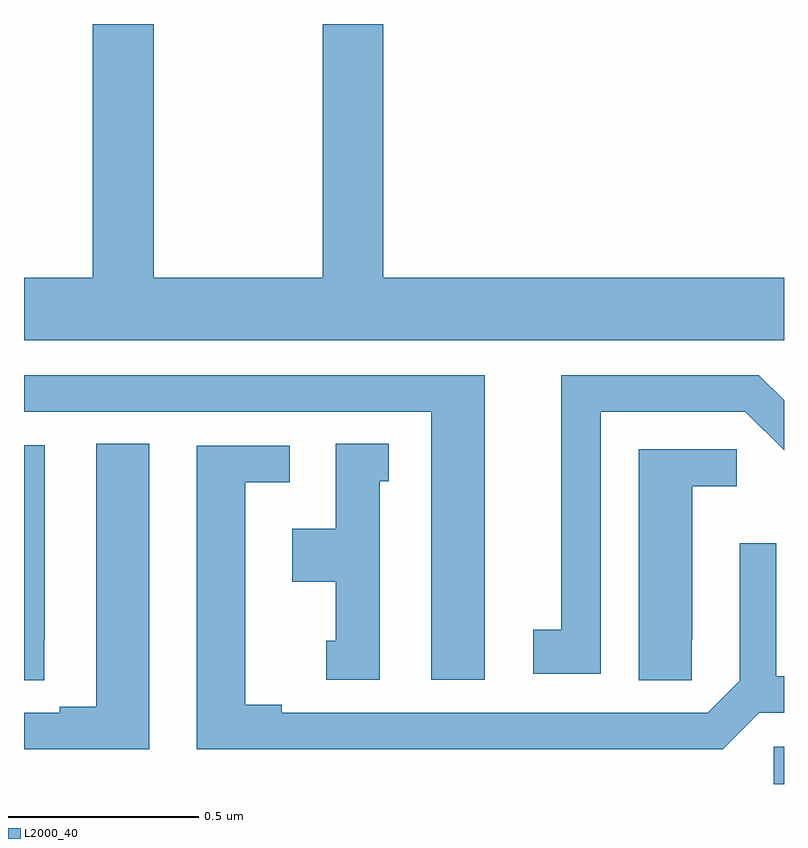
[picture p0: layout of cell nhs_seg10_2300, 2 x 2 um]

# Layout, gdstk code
import gdstk
lib = gdstk.Library(unit=1e-6, precision=1e-09)
def R(c, l, rs):  # rectangles x0, y0, x1, y1
    for r in rs: c.add(gdstk.rectangle(r[:2], r[2:], *l))
def P(c, l, *ps):  # polygons
    for p in ps: c.add(gdstk.Polygon(p, *l))
L2000_40 = (2000, 40)

nhs_seg10_2300 = lib.new_cell('nhs_seg10_2300')
R(nhs_seg10_2300, L2000_40, [(140.973,1280.5,141,1280.598)])
P(nhs_seg10_2300, L2000_40, [(141,1281.832),(139.946,1281.832),(139.946,1282.5),(139.786,1282.5),(139.786,1281.832),(139.341,1281.832),(139.341,1282.5),(139.181,1282.5),(139.181,1281.832),(139,1281.832),(139,1281.668),(141,1281.668)],
  [(140.212,1281.576),(139,1281.576),(139,1281.48),(140.072,1281.48),(140.072,1280.775),(140.212,1280.775)],
  [(140.518,1281.48),(140.898,1281.48),(141,1281.378),(141,1281.51),(140.934,1281.576),(140.414,1281.576),(140.414,1280.906),(140.34,1280.906),(140.34,1280.79),(140.518,1280.79)],
  [(139.33,1281.395),(139.19,1281.395),(139.19,1280.703),(139.094,1280.703),(139.094,1280.688),(139,1280.688),(139,1280.592),(139.33,1280.592)],
  [(139.936,1281.297),(139.96,1281.297),(139.96,1281.395),(139.82,1281.395),(139.82,1281.172),(139.706,1281.172),(139.706,1281.032),(139.82,1281.032),(139.82,1280.877),(139.796,1280.877),(139.796,1280.775),(139.936,1280.775)],
  [(139.053,1280.881),(139.054,1280.881),(139.054,1281.391),(139,1281.391),(139,1280.773),(139.053,1280.773)],
  [(140.935,1280.688),(141,1280.688),(141,1280.784),(140.979,1280.784),(140.979,1281.133),(140.883,1281.133),(140.883,1280.772),(140.799,1280.688),(139.678,1280.688),(139.678,1280.708),(139.582,1280.708),(139.582,1281.294),(139.699,1281.294),(139.699,1281.39),(139.454,1281.39),(139.454,1280.592),(140.839,1280.592)],
  [(140.757,1280.881),(140.758,1280.881),(140.758,1281.284),(140.875,1281.284),(140.875,1281.381),(140.618,1281.381),(140.618,1280.773),(140.757,1280.773)])

lib.write_gds('nhs_seg10_2300.gds')
